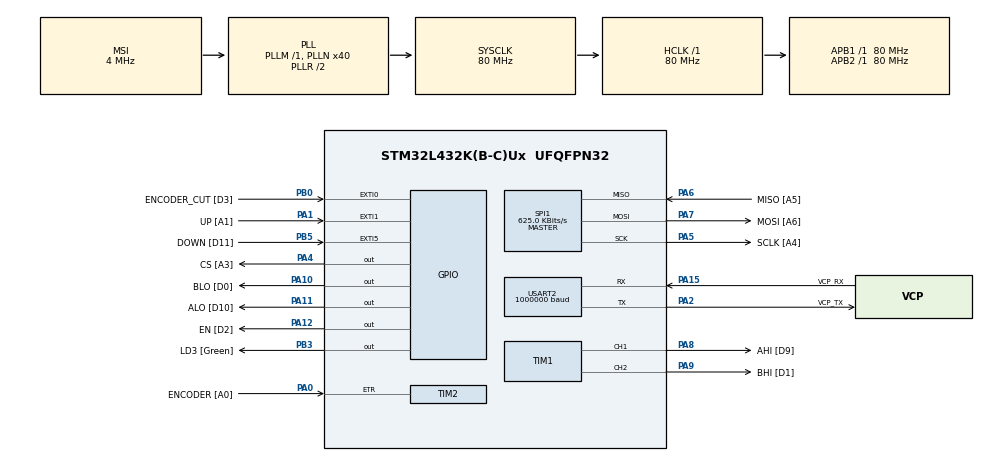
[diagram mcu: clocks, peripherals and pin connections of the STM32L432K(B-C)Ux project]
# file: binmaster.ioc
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Dma.Request0=USART2_TX
Dma.USART2_TX.0.Direction=DMA_MEMORY_TO_PERIPH
Dma.USART2_TX.0.Instance=DMA1_Channel7
Dma.USART2_TX.0.MemDataAlignment=DMA_MDATAALIGN_BYTE
Dma.USART2_TX.0.MemInc=DMA_MINC_ENABLE
Dma.USART2_TX.0.Mode=DMA_NORMAL
Dma.USART2_TX.0.PeriphDataAlignment=DMA_PDATAALIGN_BYTE
Dma.USART2_TX.0.PeriphInc=DMA_PINC_DISABLE
Dma.USART2_TX.0.Priority=DMA_PRIORITY_LOW
Mcu.Family=STM32L4
Mcu.Name=STM32L432K(B-C)Ux
Mcu.Package=UFQFPN32
NVIC.DMA1_Channel7_IRQn=true\:0\:0\:false\:false\:true\:false\:true
NVIC.EXTI0_IRQn=true\:0\:0\:true\:false\:true\:true\:true
NVIC.EXTI1_IRQn=true\:2\:0\:true\:false\:true\:true\:true
NVIC.EXTI9_5_IRQn=true\:2\:0\:true\:false\:true\:true\:true
NVIC.PriorityGroup=NVIC_PRIORITYGROUP_4
NVIC.TIM1_UP_TIM16_IRQn=true\:0\:0\:false\:false\:true\:true\:true
NVIC.TIM6_DAC_IRQn=true\:1\:0\:true\:false\:true\:true\:true
NVIC.TIM7_IRQn=true\:1\:0\:true\:false\:true\:true\:true
NVIC.USART2_IRQn=true\:2\:0\:true\:false\:true\:true\:true
PA0.GPIO_Label=ENCODER [A0]
PA0.Signal=S_TIM2_ETR
PA1.GPIO_Label=UP [A1]
PA1.GPIO_ModeDefaultEXTI=GPIO_MODE_IT_RISING_FALLING
PA1.GPIO_PuPd=GPIO_PULLUP
PA1.Signal=GPXTI1
PA10.GPIO_Label=BLO [D0]
PA10.Signal=GPIO_Output
PA11.GPIO_Label=ALO [D10]
PA11.Signal=GPIO_Output
PA12.GPIO_Label=EN [D2]
PA12.Signal=GPIO_Output
PA13\ (JTMS-SWDIO).GPIO_Label=SWDIO
PA13\ (JTMS-SWDIO).Mode=Serial_Wire
PA13\ (JTMS-SWDIO).Signal=SYS_JTMS-SWDIO
PA14\ (JTCK-SWCLK).GPIO_Label=SWCLK
PA14\ (JTCK-SWCLK).Mode=Serial_Wire
PA14\ (JTCK-SWCLK).Signal=SYS_JTCK-SWCLK
PA15\ (JTDI).GPIO_Label=VCP_RX
PA15\ (JTDI).Mode=Asynchronous
PA15\ (JTDI).Signal=USART2_RX
PA2.GPIO_Label=VCP_TX
PA2.Mode=Asynchronous
PA2.Signal=USART2_TX
PA4.GPIO_Label=CS [A3]
PA4.PinState=GPIO_PIN_SET
PA4.Signal=GPIO_Output
PA5.GPIO_Label=SCLK [A4]
PA5.Mode=Full_Duplex_Master
PA5.Signal=SPI1_SCK
PA6.GPIO_Label=MISO [A5]
PA6.Mode=Full_Duplex_Master
PA6.Signal=SPI1_MISO
PA7.GPIO_Label=MOSI [A6]
PA7.Mode=Full_Duplex_Master
PA7.Signal=SPI1_MOSI
PA8.GPIO_Label=AHI [D9]
PA8.GPIO_Speed=GPIO_SPEED_FREQ_HIGH
PA8.Signal=S_TIM1_CH1
PA9.GPIO_Label=BHI [D1]
PA9.Signal=S_TIM1_CH2
PB0.GPIO_Label=ENCODER_CUT [D3]
PB0.GPIO_ModeDefaultEXTI=GPIO_MODE_IT_RISING_FALLING
PB0.Signal=GPXTI0
PB3\ (JTDO-TRACESWO).GPIO_Label=LD3 [Green]
PB3\ (JTDO-TRACESWO).Signal=GPIO_Output
PB5.GPIO_Label=DOWN [D11]
PB5.GPIO_ModeDefaultEXTI=GPIO_MODE_IT_RISING_FALLING
PB5.GPIO_PuPd=GPIO_PULLUP
PB5.Signal=GPXTI5
PC14-OSC32_IN\ (PC14).Mode=LSE-External-Oscillator
PC14-OSC32_IN\ (PC14).Signal=RCC_OSC32_IN
PC15-OSC32_OUT\ (PC15).Mode=LSE-External-Oscillator
PC15-OSC32_OUT\ (PC15).Signal=RCC_OSC32_OUT
ProjectManager.HeapSize=0x200
ProjectManager.StackSize=0x400
ProjectManager.TargetToolchain=SW4STM32
RCC.ADCFreq_Value=32000000
RCC.AHBFreq_Value=80000000
RCC.APB1Freq_Value=80000000
RCC.APB1TimFreq_Value=80000000
RCC.APB2Freq_Value=80000000
RCC.APB2TimFreq_Value=80000000
RCC.CortexFreq_Value=80000000
RCC.HCLKFreq_Value=80000000
RCC.HSE_VALUE=8000000
RCC.HSI16_VALUE=16000000
RCC.HSI48_VALUE=48000000
RCC.HSI_VALUE=16000000
RCC.MSI_VALUE=4000000
RCC.PLLMUL=RCC_PLLMUL_4
RCC.PLLN=40
RCC.PLLSAI1N=16
RCC.SYSCLKFreq_VALUE=80000000
RCC.SYSCLKSource=RCC_SYSCLKSOURCE_PLLCLK
RCC.USBFreq_Value=32000000
RCC.VCOOutputFreq_Value=160000000
SH.S_TIM1_CH1.0=TIM1_CH1,PWM Generation1 CH1
SH.S_TIM1_CH2.0=TIM1_CH2,PWM Generation2 CH2
SH.S_TIM2_ETR.0=TIM2_ETR,ClockSourceETR_Mode2
SPI1.BaudRatePrescaler=SPI_BAUDRATEPRESCALER_128
SPI1.CalculateBaudRate=625.0 KBits/s
SPI1.DataSize=SPI_DATASIZE_8BIT
SPI1.Direction=SPI_DIRECTION_2LINES
SPI1.Mode=SPI_MODE_MASTER
SPI1.VirtualType=VM_MASTER
TIM1.Channel-PWM\ Generation1\ CH1=TIM_CHANNEL_1
TIM1.Channel-PWM\ Generation2\ CH2=TIM_CHANNEL_2
TIM1.OCIdleState_1=TIM_OCIDLESTATE_RESET
TIM1.TIM_MasterOutputTrigger=TIM_TRGO_UPDATE
TIM2.Period=0xFFFFFFFF
TIM2.Prescaler=0
TIM6.Prescaler=8000
TIM6.TIM_MasterOutputTrigger=TIM_TRGO_UPDATE
USART2.BaudRate=1000000
USART2.VirtualMode-Asynchronous=VM_ASYNC
VP_TIM1_VS_ClockSourceINT.Mode=Internal
VP_TIM6_VS_ClockSourceINT.Mode=Enable_Timer
VP_TIM7_VS_ClockSourceINT.Mode=Enable_Timer
board=NUCLEO-L432KC

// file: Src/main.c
/* USER CODE BEGIN Header */
/**
  ******************************************************************************
  * @file           : main.c
  * @brief          : Main program body
  ******************************************************************************
  * @attention
  *
  * <h2><center>&copy; Copyright (c) 2019 STMicroelectronics.
  * All rights reserved.</center></h2>
  *
  * This software component is licensed by ST under BSD 3-Clause license,
  * the "License"; You may not use this file except in compliance with the
  * License. You may obtain a copy of the License at:
  *                        opensource.org/licenses/BSD-3-Clause
  *
  ******************************************************************************
  */
/* USER CODE END Header */

#include "main.h"

SPI_HandleTypeDef hspi1;

TIM_HandleTypeDef htim1;
TIM_HandleTypeDef htim2;
TIM_HandleTypeDef htim6;
TIM_HandleTypeDef htim7;

UART_HandleTypeDef huart2;
DMA_HandleTypeDef hdma_usart2_tx;

/* USER CODE BEGIN PV */
/* Driver Variables */
UnitState state = IDLE;
DriveState drive_state = STOP;

uint32_t count = 0;
uint16_t depth = 0;

uint16_t encoder_timeout[4] = {TIMEOUT_0, TIMEOUT_1, TIMEOUT_2, TIMEOUT_3};

uint8_t ascent_rate = ASCENT_RATE;
uint8_t descent_rate = DESCENT_RATE;

uint16_t ramp_rate = RAMP_INCREMENT;

uint16_t current_tim_compare = 0;
uint16_t steady_tim_compare = 0;

uint32_t prev_count = 0;
uint16_t tension_buffer_pos = 0;
int16_t tension_buffer[TENSION_BUFFER_LEN];

/* UART Variables */
uint8_t uart_rx_buffer[UART_RX_BUFFER_LEN];
uint16_t uart_rx_length;
volatile bool uart_rx_complete;
/* USER CODE END PV */

void SystemClock_Config(void);
static void MX_GPIO_Init(void);
static void MX_DMA_Init(void);
static void MX_TIM1_Init(void);
static void MX_TIM2_Init(void);
static void MX_TIM6_Init(void);
static void MX_SPI1_Init(void);
static void MX_USART2_UART_Init(void);
static void MX_TIM7_Init(void);
/* USER CODE BEGIN PFP */
//void read_spi_amt(AMT22Command command, uint8_t *buf);
/* USER CODE END PFP */

/* USER CODE BEGIN 0 */
/**
 * @brief Implement a uart receive with idle line detection
 *
 * Non-Blocking Function
 *
 * @param huart   UART handle.
 * @param pData   Pointer to data buffer.
 * @param Size    Amount of data to be received.
 * @retval None
 */
void UARTReceiveIdleIT(UART_HandleTypeDef *huart, uint8_t *pData, uint16_t bufferSize) {
    uart_rx_complete = false;
    uart_rx_length = 0;
    __HAL_UART_ENABLE_IT(huart, UART_IT_IDLE);
    HAL_UART_Receive_IT(huart, pData, bufferSize);
}

/**
  * @brief  UART Idle callback.
  *
  * @retval None
  */
void UART_IdleCallback(void) {
    if (uart_rx_complete) {
        processProtocolCommand(uart_rx_buffer, uart_rx_length);
        UARTReceiveIdleIT(TERMINAL_UART, uart_rx_buffer, UART_RX_BUFFER_LEN);
    }
}
/* USER CODE END 0 */

int main(void)
{

  /* MCU Configuration--------------------------------------------------------*/

  /* Reset of all peripherals, Initializes the Flash interface and the Systick. */
  HAL_Init();

  /* Configure the system clock */
  SystemClock_Config();

  /* Initialize all configured peripherals */
  MX_GPIO_Init();
  MX_DMA_Init();
  MX_TIM1_Init();
  MX_TIM2_Init();
  MX_TIM6_Init();
  MX_SPI1_Init();
  MX_USART2_UART_Init();
  MX_TIM7_Init();
  /* USER CODE BEGIN 2 */

  /* Allow AMT22 to power on */
  HAL_Delay(1000);

  /* Set Timer Rate */
  __HAL_TIM_SET_AUTORELOAD(&htim7, TENSION_FREQ);

  /* Clear timer interrupt */
  __HAL_TIM_CLEAR_FLAG(&htim1, TIM_SR_UIF);
  __HAL_TIM_CLEAR_FLAG(&htim6, TIM_SR_UIF);
  __HAL_TIM_CLEAR_FLAG(&htim7, TIM_SR_UIF);

  /* Enable Driver */
  __HAL_TIM_DISABLE_IT(&htim1, TIM_IT_UPDATE);
  __HAL_TIM_SET_AUTORELOAD(&htim1, MOTOR_FREQ);
  __HAL_TIM_SET_COMPARE(&htim1, TIM_CHANNEL_1, 0);
  __HAL_TIM_SET_COMPARE(&htim1, TIM_CHANNEL_2, 0);
  HAL_TIM_PWM_Start(&htim1, TIM_CHANNEL_1);
  HAL_TIM_PWM_Start(&htim1, TIM_CHANNEL_2);
  __ENABLE_DRIVER();

  /* Begin serial prompt */
  UARTReceiveIdleIT(TERMINAL_UART, uart_rx_buffer, UART_RX_BUFFER_LEN);

  /* USER CODE END 2 */

  /* Infinite loop */
  /* USER CODE BEGIN WHILE */
#pragma clang diagnostic push
#pragma ide diagnostic ignored "EndlessLoop"
  while (1)
  {
    /* USER CODE END WHILE */

    /* USER CODE BEGIN 3 */
  }
#pragma clang diagnostic pop
  /* USER CODE END 3 */
}

void SystemClock_Config(void)
{
  RCC_OscInitTypeDef RCC_OscInitStruct = {0};
  RCC_ClkInitTypeDef RCC_ClkInitStruct = {0};
  RCC_PeriphCLKInitTypeDef PeriphClkInit = {0};

  /** Configure LSE Drive Capability
  */
  HAL_PWR_EnableBkUpAccess();
  __HAL_RCC_LSEDRIVE_CONFIG(RCC_LSEDRIVE_LOW);
  /** Initializes the CPU, AHB and APB busses clocks
  */
  RCC_OscInitStruct.OscillatorType = RCC_OSCILLATORTYPE_LSE|RCC_OSCILLATORTYPE_MSI;
  RCC_OscInitStruct.LSEState = RCC_LSE_ON;
  RCC_OscInitStruct.MSIState = RCC_MSI_ON;
  RCC_OscInitStruct.MSICalibrationValue = 0;
  RCC_OscInitStruct.MSIClockRange = RCC_MSIRANGE_6;
  RCC_OscInitStruct.PLL.PLLState = RCC_PLL_ON;
  RCC_OscInitStruct.PLL.PLLSource = RCC_PLLSOURCE_MSI;
  RCC_OscInitStruct.PLL.PLLM = 1;
  RCC_OscInitStruct.PLL.PLLN = 40;
  RCC_OscInitStruct.PLL.PLLP = RCC_PLLP_DIV7;
  RCC_OscInitStruct.PLL.PLLQ = RCC_PLLQ_DIV2;
  RCC_OscInitStruct.PLL.PLLR = RCC_PLLR_DIV2;
  if (HAL_RCC_OscConfig(&RCC_OscInitStruct) != HAL_OK)
  {
    Error_Handler();
  }
  /** Initializes the CPU, AHB and APB busses clocks
  */
  RCC_ClkInitStruct.ClockType = RCC_CLOCKTYPE_HCLK|RCC_CLOCKTYPE_SYSCLK
                              |RCC_CLOCKTYPE_PCLK1|RCC_CLOCKTYPE_PCLK2;
  RCC_ClkInitStruct.SYSCLKSource = RCC_SYSCLKSOURCE_PLLCLK;
  RCC_ClkInitStruct.AHBCLKDivider = RCC_SYSCLK_DIV1;
  RCC_ClkInitStruct.APB1CLKDivider = RCC_HCLK_DIV1;
  RCC_ClkInitStruct.APB2CLKDivider = RCC_HCLK_DIV1;

  if (HAL_RCC_ClockConfig(&RCC_ClkInitStruct, FLASH_LATENCY_4) != HAL_OK)
  {
    Error_Handler();
  }
  PeriphClkInit.PeriphClockSelection = RCC_PERIPHCLK_USART2;
  PeriphClkInit.Usart2ClockSelection = RCC_USART2CLKSOURCE_PCLK1;
  if (HAL_RCCEx_PeriphCLKConfig(&PeriphClkInit) != HAL_OK)
  {
    Error_Handler();
  }
  /** Configure the main internal regulator output voltage
  */
  if (HAL_PWREx_ControlVoltageScaling(PWR_REGULATOR_VOLTAGE_SCALE1) != HAL_OK)
  {
    Error_Handler();
  }
  /** Enable MSI Auto calibration
  */
  HAL_RCCEx_EnableMSIPLLMode();
}

static void MX_SPI1_Init(void)
{

  /* SPI1 parameter configuration*/
  hspi1.Instance = SPI1;
  hspi1.Init.Mode = SPI_MODE_MASTER;
  hspi1.Init.Direction = SPI_DIRECTION_2LINES;
  hspi1.Init.DataSize = SPI_DATASIZE_8BIT;
  hspi1.Init.CLKPolarity = SPI_POLARITY_LOW;
  hspi1.Init.CLKPhase = SPI_PHASE_1EDGE;
  hspi1.Init.NSS = SPI_NSS_SOFT;
  hspi1.Init.BaudRatePrescaler = SPI_BAUDRATEPRESCALER_128;
  hspi1.Init.FirstBit = SPI_FIRSTBIT_MSB;
  hspi1.Init.TIMode = SPI_TIMODE_DISABLE;
  hspi1.Init.CRCCalculation = SPI_CRCCALCULATION_DISABLE;
  hspi1.Init.CRCPolynomial = 7;
  hspi1.Init.CRCLength = SPI_CRC_LENGTH_DATASIZE;
  hspi1.Init.NSSPMode = SPI_NSS_PULSE_ENABLE;
  if (HAL_SPI_Init(&hspi1) != HAL_OK)
  {
    Error_Handler();
  }

}

static void MX_TIM1_Init(void)
{

  TIM_ClockConfigTypeDef sClockSourceConfig = {0};
  TIM_MasterConfigTypeDef sMasterConfig = {0};
  TIM_OC_InitTypeDef sConfigOC = {0};
  TIM_BreakDeadTimeConfigTypeDef sBreakDeadTimeConfig = {0};

  htim1.Instance = TIM1;
  htim1.Init.Prescaler = 0;
  htim1.Init.CounterMode = TIM_COUNTERMODE_UP;
  htim1.Init.Period = 0;
  htim1.Init.ClockDivision = TIM_CLOCKDIVISION_DIV1;
  htim1.Init.RepetitionCounter = 0;
  htim1.Init.AutoReloadPreload = TIM_AUTORELOAD_PRELOAD_DISABLE;
  if (HAL_TIM_Base_Init(&htim1) != HAL_OK)
  {
    Error_Handler();
  }
  sClockSourceConfig.ClockSource = TIM_CLOCKSOURCE_INTERNAL;
  if (HAL_TIM_ConfigClockSource(&htim1, &sClockSourceConfig) != HAL_OK)
  {
    Error_Handler();
  }
  if (HAL_TIM_PWM_Init(&htim1) != HAL_OK)
  {
    Error_Handler();
  }
  sMasterConfig.MasterOutputTrigger = TIM_TRGO_UPDATE;
  sMasterConfig.MasterOutputTrigger2 = TIM_TRGO2_RESET;
  sMasterConfig.MasterSlaveMode = TIM_MASTERSLAVEMODE_DISABLE;
  if (HAL_TIMEx_MasterConfigSynchronization(&htim1, &sMasterConfig) != HAL_OK)
  {
    Error_Handler();
  }
  sConfigOC.OCMode = TIM_OCMODE_PWM1;
  sConfigOC.Pulse = 0;
  sConfigOC.OCPolarity = TIM_OCPOLARITY_HIGH;
  sConfigOC.OCNPolarity = TIM_OCNPOLARITY_HIGH;
  sConfigOC.OCFastMode = TIM_OCFAST_DISABLE;
  sConfigOC.OCIdleState = TIM_OCIDLESTATE_RESET;
  sConfigOC.OCNIdleState = TIM_OCNIDLESTATE_RESET;
  if (HAL_TIM_PWM_ConfigChannel(&htim1, &sConfigOC, TIM_CHANNEL_1) != HAL_OK)
  {
    Error_Handler();
  }
  if (HAL_TIM_PWM_ConfigChannel(&htim1, &sConfigOC, TIM_CHANNEL_2) != HAL_OK)
  {
    Error_Handler();
  }
  sBreakDeadTimeConfig.OffStateRunMode = TIM_OSSR_DISABLE;
  sBreakDeadTimeConfig.OffStateIDLEMode = TIM_OSSI_DISABLE;
  sBreakDeadTimeConfig.LockLevel = TIM_LOCKLEVEL_OFF;
  sBreakDeadTimeConfig.DeadTime = 0;
  sBreakDeadTimeConfig.BreakState = TIM_BREAK_DISABLE;
  sBreakDeadTimeConfig.BreakPolarity = TIM_BREAKPOLARITY_HIGH;
  sBreakDeadTimeConfig.BreakFilter = 0;
  sBreakDeadTimeConfig.Break2State = TIM_BREAK2_DISABLE;
  sBreakDeadTimeConfig.Break2Polarity = TIM_BREAK2POLARITY_HIGH;
  sBreakDeadTimeConfig.Break2Filter = 0;
  sBreakDeadTimeConfig.AutomaticOutput = TIM_AUTOMATICOUTPUT_DISABLE;
  if (HAL_TIMEx_ConfigBreakDeadTime(&htim1, &sBreakDeadTimeConfig) != HAL_OK)
  {
    Error_Handler();
  }
  HAL_TIM_MspPostInit(&htim1);

}

static void MX_TIM2_Init(void)
{

  TIM_ClockConfigTypeDef sClockSourceConfig = {0};
  TIM_MasterConfigTypeDef sMasterConfig = {0};

  htim2.Instance = TIM2;
  htim2.Init.Prescaler = 0;
  htim2.Init.CounterMode = TIM_COUNTERMODE_UP;
  htim2.Init.Period = 0xFFFFFFFF;
  htim2.Init.ClockDivision = TIM_CLOCKDIVISION_DIV1;
  htim2.Init.AutoReloadPreload = TIM_AUTORELOAD_PRELOAD_DISABLE;
  if (HAL_TIM_Base_Init(&htim2) != HAL_OK)
  {
    Error_Handler();
  }
  sClockSourceConfig.ClockSource = TIM_CLOCKSOURCE_ETRMODE2;
  sClockSourceConfig.ClockPolarity = TIM_CLOCKPOLARITY_NONINVERTED;
  sClockSourceConfig.ClockPrescaler = TIM_CLOCKPRESCALER_DIV1;
  sClockSourceConfig.ClockFilter = 0;
  if (HAL_TIM_ConfigClockSource(&htim2, &sClockSourceConfig) != HAL_OK)
  {
    Error_Handler();
  }
  sMasterConfig.MasterOutputTrigger = TIM_TRGO_RESET;
  sMasterConfig.MasterSlaveMode = TIM_MASTERSLAVEMODE_DISABLE;
  if (HAL_TIMEx_MasterConfigSynchronization(&htim2, &sMasterConfig) != HAL_OK)
  {
    Error_Handler();
  }

}

static void MX_TIM6_Init(void)
{

  TIM_MasterConfigTypeDef sMasterConfig = {0};

  htim6.Instance = TIM6;
  htim6.Init.Prescaler = 8000;
  htim6.Init.CounterMode = TIM_COUNTERMODE_UP;
  htim6.Init.Period = 0;
  htim6.Init.AutoReloadPreload = TIM_AUTORELOAD_PRELOAD_DISABLE;
  if (HAL_TIM_Base_Init(&htim6) != HAL_OK)
  {
    Error_Handler();
  }
  sMasterConfig.MasterOutputTrigger = TIM_TRGO_UPDATE;
  sMasterConfig.MasterSlaveMode = TIM_MASTERSLAVEMODE_DISABLE;
  if (HAL_TIMEx_MasterConfigSynchronization(&htim6, &sMasterConfig) != HAL_OK)
  {
    Error_Handler();
  }

}

static void MX_TIM7_Init(void)
{

  TIM_MasterConfigTypeDef sMasterConfig = {0};

  htim7.Instance = TIM7;
  htim7.Init.Prescaler = 0;
  htim7.Init.CounterMode = TIM_COUNTERMODE_UP;
  htim7.Init.Period = 0;
  htim7.Init.AutoReloadPreload = TIM_AUTORELOAD_PRELOAD_DISABLE;
  if (HAL_TIM_Base_Init(&htim7) != HAL_OK)
  {
    Error_Handler();
  }
  sMasterConfig.MasterOutputTrigger = TIM_TRGO_RESET;
  sMasterConfig.MasterSlaveMode = TIM_MASTERSLAVEMODE_DISABLE;
  if (HAL_TIMEx_MasterConfigSynchronization(&htim7, &sMasterConfig) != HAL_OK)
  {
    Error_Handler();
  }

}

static void MX_USART2_UART_Init(void)
{

  huart2.Instance = USART2;
  huart2.Init.BaudRate = 1000000;
  huart2.Init.WordLength = UART_WORDLENGTH_8B;
  huart2.Init.StopBits = UART_STOPBITS_1;
  huart2.Init.Parity = UART_PARITY_NONE;
  huart2.Init.Mode = UART_MODE_TX_RX;
  huart2.Init.HwFlowCtl = UART_HWCONTROL_NONE;
  huart2.Init.OverSampling = UART_OVERSAMPLING_16;
  huart2.Init.OneBitSampling = UART_ONE_BIT_SAMPLE_DISABLE;
  huart2.AdvancedInit.AdvFeatureInit = UART_ADVFEATURE_NO_INIT;
  if (HAL_UART_Init(&huart2) != HAL_OK)
  {
    Error_Handler();
  }

}

static void MX_DMA_Init(void)
{
  /* DMA controller clock enable */
  __HAL_RCC_DMA1_CLK_ENABLE();

  /* DMA interrupt init */
  /* DMA1_Channel7_IRQn interrupt configuration */
  HAL_NVIC_SetPriority(DMA1_Channel7_IRQn, 0, 0);
  HAL_NVIC_EnableIRQ(DMA1_Channel7_IRQn);

}

static void MX_GPIO_Init(void)
{
  GPIO_InitTypeDef GPIO_InitStruct = {0};

  /* GPIO Ports Clock Enable */
  __HAL_RCC_GPIOC_CLK_ENABLE();
  __HAL_RCC_GPIOA_CLK_ENABLE();
  __HAL_RCC_GPIOB_CLK_ENABLE();

  /*Configure GPIO pin Output Level */
  HAL_GPIO_WritePin(CS_GPIO_Port, CS_Pin, GPIO_PIN_SET);

  /*Configure GPIO pin Output Level */
  HAL_GPIO_WritePin(GPIOA, BLO_Pin|ALO_Pin|EN_Pin, GPIO_PIN_RESET);

  /*Configure GPIO pin Output Level */
  HAL_GPIO_WritePin(LD3_GPIO_Port, LD3_Pin, GPIO_PIN_RESET);

  /*Configure GPIO pin : UP_Pin */
  GPIO_InitStruct.Pin = UP_Pin;
  GPIO_InitStruct.Mode = GPIO_MODE_IT_RISING_FALLING;
  GPIO_InitStruct.Pull = GPIO_PULLUP;
  HAL_GPIO_Init(UP_GPIO_Port, &GPIO_InitStruct);

  /*Configure GPIO pins : CS_Pin BLO_Pin ALO_Pin EN_Pin */
  GPIO_InitStruct.Pin = CS_Pin|BLO_Pin|ALO_Pin|EN_Pin;
  GPIO_InitStruct.Mode = GPIO_MODE_OUTPUT_PP;
  GPIO_InitStruct.Pull = GPIO_NOPULL;
  GPIO_InitStruct.Speed = GPIO_SPEED_FREQ_LOW;
  HAL_GPIO_Init(GPIOA, &GPIO_InitStruct);

  /*Configure GPIO pin : ENCODER_CUT_Pin */
  GPIO_InitStruct.Pin = ENCODER_CUT_Pin;
  GPIO_InitStruct.Mode = GPIO_MODE_IT_RISING_FALLING;
  GPIO_InitStruct.Pull = GPIO_NOPULL;
  HAL_GPIO_Init(ENCODER_CUT_GPIO_Port, &GPIO_InitStruct);

  /*Configure GPIO pin : LD3_Pin */
  GPIO_InitStruct.Pin = LD3_Pin;
  GPIO_InitStruct.Mode = GPIO_MODE_OUTPUT_PP;
  GPIO_InitStruct.Pull = GPIO_NOPULL;
  GPIO_InitStruct.Speed = GPIO_SPEED_FREQ_LOW;
  HAL_GPIO_Init(LD3_GPIO_Port, &GPIO_InitStruct);

  /*Configure GPIO pin : DOWN_Pin */
  GPIO_InitStruct.Pin = DOWN_Pin;
  GPIO_InitStruct.Mode = GPIO_MODE_IT_RISING_FALLING;
  GPIO_InitStruct.Pull = GPIO_PULLUP;
  HAL_GPIO_Init(DOWN_GPIO_Port, &GPIO_InitStruct);

  /* EXTI interrupt init*/
  HAL_NVIC_SetPriority(EXTI0_IRQn, 0, 0);
  HAL_NVIC_EnableIRQ(EXTI0_IRQn);

  HAL_NVIC_SetPriority(EXTI1_IRQn, 2, 0);
  HAL_NVIC_EnableIRQ(EXTI1_IRQn);

  HAL_NVIC_SetPriority(EXTI9_5_IRQn, 2, 0);
  HAL_NVIC_EnableIRQ(EXTI9_5_IRQn);

}

/* USER CODE BEGIN 4 */
/** Control Functions */

void motor_up(uint8_t speed, bool ramp) {
  HAL_GPIO_WritePin(BLO_GPIO_Port, BLO_Pin, GPIO_PIN_SET);

  if (ramp) {
    steady_tim_compare = (uint16_t) (MOTOR_FREQ * (speed / 100.));
    current_tim_compare = steady_tim_compare / 10;
    __HAL_TIM_SET_COMPARE(&htim1, TIM_CHANNEL_1, current_tim_compare);
    drive_state = UP_RAMP;
    __HAL_TIM_ENABLE_IT(&htim1, TIM_IT_UPDATE);
  } else {
    uint16_t duty_cycle = (uint16_t) (MOTOR_FREQ * (speed / 100.));
    __HAL_TIM_SET_COMPARE(&htim1, TIM_CHANNEL_1, duty_cycle);
   drive_state = UP;
  }
}

void motor_down(uint8_t speed, bool ramp) {
  HAL_GPIO_WritePin(ALO_GPIO_Port, ALO_Pin, GPIO_PIN_SET);

  if (ramp) {
    steady_tim_compare = (uint16_t) (MOTOR_FREQ * (speed / 100.));
    current_tim_compare = steady_tim_compare / 10;
    __HAL_TIM_SET_COMPARE(&htim1, TIM_CHANNEL_2, current_tim_compare);
    drive_state = DOWN_RAMP;
    __HAL_TIM_ENABLE_IT(&htim1, TIM_IT_UPDATE);
  } else {
    uint16_t duty_cycle = (uint16_t) (MOTOR_FREQ * (speed / 100.));
    __HAL_TIM_SET_COMPARE(&htim1, TIM_CHANNEL_2, duty_cycle);
    drive_state = DOWN;
  }
}

void motor_stop(void) {
  __HAL_TIM_DISABLE_IT(&htim1, TIM_IT_UPDATE);
  __HAL_TIM_CLEAR_FLAG(&htim1, TIM_SR_UIF);
  __HAL_TIM_SET_COMPARE(&htim1, TIM_CHANNEL_1, 0);
  __HAL_TIM_SET_COMPARE(&htim1, TIM_CHANNEL_2, 0);
  HAL_GPIO_WritePin(ALO_GPIO_Port, ALO_Pin, GPIO_PIN_RESET);
  HAL_GPIO_WritePin(BLO_GPIO_Port, BLO_Pin, GPIO_PIN_RESET);
  drive_state = STOP;
}

void dipping_descend(void) {
  if (state == IDLE) {
    state = DIPPING_DESCEND_INIT;
    prev_count = 0;
    count = 0; // TODO compare this to a hardware timer. See if the interrupt is missing pulses etc.
    depth = 0;
    tension_buffer_pos = 0;
    motor_down(descent_rate, true);
    __HAL_TIM_SET_AUTORELOAD(&htim6, encoder_timeout[0]);
    HAL_TIM_Base_Start_IT(&htim6);
    HAL_TIM_Base_Start_IT(&htim7);
  }
}

void dipping_ascend(void) {
  if (state == DIPPING_DESCEND) {
    state = DIPPING_ASCEND_INIT;
    motor_up(ascent_rate, true);
    __HAL_TIM_SET_AUTORELOAD(&htim6, encoder_timeout[2]);
    HAL_TIM_Base_Start_IT(&htim6);
  }
}

/**
 * @brief Handle Up Callback
 *
 * @retval None
 *
 */
void up_interrupt(void) {
  if (HAL_GPIO_ReadPin(UP_GPIO_Port, UP_Pin)) { // Pin not pressed
    motor_stop();
  } else { // Pin is pressed
    motor_up(50, false);
  }
}

/**
 * @brief Handle Down Callback
 *
 * @retval None
 *
 */
void down_interrupt(void) {
  if (HAL_GPIO_ReadPin(DOWN_GPIO_Port, DOWN_Pin)) { // Pin not pressed
    motor_stop();
  } else { // Pin is pressed
    motor_down(50, false);
  }
}

/**
 * @brief Handle Encoder Cut Callback
 *
 * @retval None
 *
 */
void encoder_cut_interrupt(void) {
  if (state == DIPPING_DESCEND || state == DIPPING_ASCEND) {
    __HAL_TIM_SET_COUNTER(&htim6, 0);
  }
  count++; // TODO Validate (should count in init phases also)
}

void read_spi_amt(AMT22Command command, uint8_t *buf) {
  uint8_t output[2] = {0};
  output[1] = (uint8_t) command;
  HAL_GPIO_WritePin(CS_GPIO_Port, CS_Pin, GPIO_PIN_RESET);
  HAL_SPI_TransmitReceive(&hspi1, output, buf, 1, 0xFFFF);
  HAL_SPI_TransmitReceive(&hspi1, &output[1], &buf[1], 1, 0xFFFF);
  HAL_GPIO_WritePin(CS_GPIO_Port, CS_Pin, GPIO_PIN_SET);
}

int16_t get_abs_position_amt(void) {
  uint8_t spi_buf[2];
  read_spi_amt(AMT22_NOP, spi_buf);
  int16_t value = (int16_t) ((spi_buf[0] << 10) | (spi_buf[1] << 2)); //TODO parity check
  return value;
}

/** Interrupts */

/**
  * @brief  EXTI line detection callback.
  * @param  GPIO_Pin: Specifies the port pin connected to corresponding EXTI line.
  * @retval None
  */
void HAL_GPIO_EXTI_Callback(uint16_t GPIO_Pin) {
  switch (GPIO_Pin) {
    case UP_Pin:
      up_interrupt();
      break;
    case DOWN_Pin:
      down_interrupt();
      break;
    case ENCODER_CUT_Pin:
      encoder_cut_interrupt();
      break;
    default:
      break;
  }
}

/**
 * @brief Timer elapsed interrupts
 *
 * @param htim
 */
void HAL_TIM_PeriodElapsedCallback(TIM_HandleTypeDef *htim) {
  if (htim == &htim6) {
    HAL_TIM_Base_Stop_IT(&htim6);

    switch (state) {
      case DIPPING_DESCEND_INIT:
        __HAL_TIM_SET_AUTORELOAD(&htim6, encoder_timeout[1]);
        HAL_TIM_Base_Start_IT(&htim6);
        state = DIPPING_DESCEND;
        break;
      case DIPPING_DESCEND:
        motor_stop();
        depth = (uint16_t) (count * 1.91); // TODO is this the best place for this?
        dipping_ascend();
        break;
      case DIPPING_ASCEND_INIT:
        __HAL_TIM_SET_AUTORELOAD(&htim6, encoder_timeout[3]);
        HAL_TIM_Base_Start_IT(&htim6);
        state = DIPPING_ASCEND;
        break;
      case DIPPING_ASCEND:
        motor_stop();
        state = IDLE;
        HAL_TIM_Base_Stop_IT(&htim7);
        __HAL_TIM_CLEAR_FLAG(&htim7, TIM_SR_UIF);

        /* If DMA is still running from last buffer send */
        if ((TERMINAL_UART)->gState != HAL_UART_STATE_READY) {
          while (!READ_BIT((TERMINAL_UART)->Instance->CR1, USART_CR1_TCIE)) {}
          CLEAR_BIT((TERMINAL_UART)->Instance->CR1, (USART_CR1_TXEIE | USART_CR1_TCIE));
          (TERMINAL_UART)->gState = HAL_UART_STATE_READY;
        }

        uint16_t terminator = 0xFFFF;
        HAL_UART_Transmit(TERMINAL_UART, (uint8_t*) &terminator, 2, 0xFFFF);
        break;
      default:
        break;
    }

    /* Clear timer interrupt */
    __HAL_TIM_CLEAR_FLAG(&htim6, TIM_SR_UIF);
  } else if (htim == &htim1) {
    if (current_tim_compare < (steady_tim_compare - ramp_rate)) {
      current_tim_compare += ramp_rate;

      if (drive_state == UP_RAMP) {
        __HAL_TIM_SET_COMPARE(&htim1, TIM_CHANNEL_1, current_tim_compare);
      } else if (drive_state == DOWN_RAMP) {
        __HAL_TIM_SET_COMPARE(&htim1, TIM_CHANNEL_2, current_tim_compare);
      }
    } else {
      __HAL_TIM_DISABLE_IT(&htim1, TIM_IT_UPDATE);
      if (drive_state == UP_RAMP) {
        __HAL_TIM_SET_COMPARE(&htim1, TIM_CHANNEL_1, steady_tim_compare);
        drive_state = UP;
      } else if (drive_state == DOWN_RAMP) {
        __HAL_TIM_SET_COMPARE(&htim1, TIM_CHANNEL_2, steady_tim_compare);
        drive_state = DOWN;
      }
    }
  } else if (htim == &htim7) {
    /* Get current tension arm angle */
    if (count > prev_count) { // If distance encoder count has increased pack bit
      tension_buffer[tension_buffer_pos] = (int16_t) __REV16(get_abs_position_amt() | 0x2);
      prev_count = count;
    } else {
      tension_buffer[tension_buffer_pos] = (int16_t) __REV16(get_abs_position_amt());
    }
    tension_buffer_pos++;

    /* Send buffer out UART if required */
    if (tension_buffer_pos == HALF_TENSION_BUFFER_LEN) {
      HAL_UART_Transmit_DMA(TERMINAL_UART, (uint8_t*) tension_buffer, TENSION_BUFFER_LEN); // 2 x Half Buffer (16 bit)
    } else if (tension_buffer_pos == TENSION_BUFFER_LEN) {
      HAL_UART_Transmit_DMA(TERMINAL_UART, (uint8_t*) &tension_buffer[HALF_TENSION_BUFFER_LEN], TENSION_BUFFER_LEN);
      tension_buffer_pos = 0;
    }
  }
}

/** Protogen Functions */

/**
 * @brief Cycle Unit
 *
 * @retval None
 *
 */
void execute_cycle(void) {
  dipping_descend();
}

/**
 * @brief Ascent rate (percent)
 *
 * @param data    Data from stream
 * @param length  Length of data
 * @retval None
 *
 */
void execute_set_ascent_rate(uint8_t *data, uint16_t length) {
  ascent_rate = data[0];
}

/**
 * @brief Descent rate (percent)
 *
 * @param data    Data from stream
 * @param length  Length of data
 * @retval None
 *
 */
void execute_set_descent_rate(uint8_t *data, uint16_t length) {
  descent_rate = data[0];
}

/**
 * @brief Timeout (10us)
 *
 * @param data    Data from stream
 * @param length  Length of data
 * @retval None
 *
 */
void execute_set_timeout(uint8_t *data, uint16_t length) {
  encoder_timeout[data[0]] = (uint16_t) __REV16(*(uint16_t*) &data[1]);
}

/**
 * @brief Ramp rate
 *
 * @param data    Data from stream
 * @param length  Length of data
 * @retval None
 *
 */
void execute_set_ramp_rate(uint8_t *data, uint16_t length) {
  ramp_rate = (uint16_t) __REV16(*(uint16_t*) data);
}

/**
 * @brief Get ascent rate (percent)
 *
 * @retval None
 *
 */
void execute_get_ascent_rate(void) {
  HAL_UART_Transmit(TERMINAL_UART, &ascent_rate, 1, 0xFFFF);
}

/**
 * @brief Get descent rate (percent)
 *
 * @retval None
 *
 */
void execute_get_descent_rate(void) {
  HAL_UART_Transmit(TERMINAL_UART, &descent_rate, 1, 0xFFFF);
}

/**
 * @brief Timeout (10us)
 *
 * @param data    Data from stream
 * @param length  Length of data
 * @retval None
 *
 */
void execute_get_timeout(uint8_t *data, uint16_t length) {
  uint16_t timeout = (uint16_t) __REV16(encoder_timeout[data[0]]);
  HAL_UART_Transmit(TERMINAL_UART, (uint8_t*) &timeout, 2, 0xFFFF);
}

/**
 * @brief Ramp rate
 *
 * @retval None
 *
 */
void execute_get_ramp_rate(void) {
  uint16_t ramp_increment = (uint16_t) __REV16(ramp_rate);
  HAL_UART_Transmit(TERMINAL_UART, (uint8_t*) &ramp_increment, 2, 0xFFFF);
}

/**
 * @brief Water level and Bottom level
 *
 * @retval None
 *
 */
void execute_get_previous_level(void) {
  uint16_t levels[2] = {0, 0};
  levels[1] = (uint16_t) __REV16(depth);
  HAL_UART_Transmit(TERMINAL_UART, (uint8_t*) levels, 4, 0xFFFF);
}

void execute_send_motor_up(void) {
  motor_up(ascent_rate, true);
}

void execute_send_motor_down(void) {
  motor_down(descent_rate, true);
}

void execute_send_motor_stop(void) {
	if (state == IDLE){
		motor_stop();
	}
}
/* USER CODE END 4 */

void Error_Handler(void)
{
}

/************************ (C) COPYRIGHT STMicroelectronics *****END OF FILE****/
